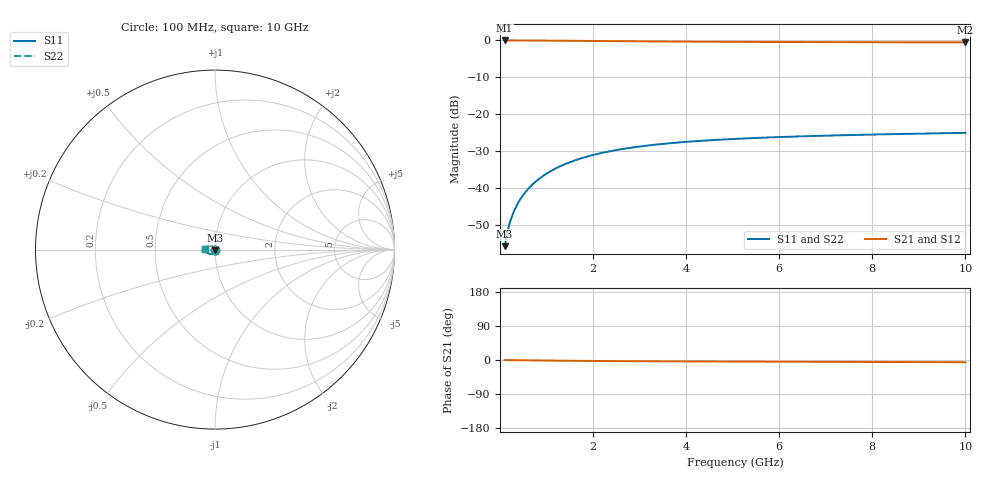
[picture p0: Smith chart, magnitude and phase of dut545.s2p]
! Touchstone file exported from HFSS 2024.1.0
!  File:  C:/UserFiles/LocalFiles/RDL_TSV_Batchsim/temp_TSV1_545_1779705791.aedt
!  Generated:  06:49:27 PM May 25, 2026
!  Design:  TSV1
!  Project:  temp_TSV1_545_1779705791
!  Setup:  Setup1
!  Solution:  Sweep
! Variables:
!  dtsv = 11.88um
!  hbump = 3um
!  htsv = 91.96um
!  lrdl = 252.1521522um
!  p = 40
!  p1 = 56.54um
!  t = 500um
!  trdl = 3um
!  wrdl = 24.89489489um
# GHz S MA R 50.000000
! Terminal data exported
! Port[1] = TSV22_T1
! Port[2] = TSV22_T2
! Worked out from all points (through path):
!   100 points, 100 MHz to 10 GHz, reference 50 ohm
!   highest |S21| = 0.00 dB at 100 MHz (marker M1); lowest = -0.5 dB at 10 GHz (marker M2)
!   lowest |S11| = -55.8 dB at 100 MHz (marker M3), VSWR 1.00, Z = 50 - j0.162 ohm
!   |S11| at or under -10 dB: start of sweep to end of sweep
!   |S22| runs from -55.8 to -25.1 dB; largest |S21 - S12| = 6.3e-15
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0.1  0.001618 -88.0  0.9998 -0.2  0.9998 -0.2  0.001618 -88.0
! Gamma 0 0 0 0
! Port Impedance 50 0 50 0
0.2  0.003231 -91.8  0.9997 -0.3  0.9997 -0.3  0.003231 -91.8
0.3  0.00484 -94.3  0.9994 -0.5  0.9994 -0.5  0.00484 -94.3
0.4  0.006441 -96.5  0.999 -0.6  0.999 -0.6  0.006441 -96.5
0.5  0.008028 -98.6  0.9985 -0.8  0.9985 -0.8  0.008028 -98.6
0.6  0.009595 -100.6  0.9979 -0.9  0.9979 -0.9  0.009595 -100.6
0.7  0.01114 -102.6  0.9972 -1.0  0.9972 -1.0  0.01114 -102.6
0.8  0.01265 -104.6  0.9965 -1.2  0.9965 -1.2  0.01265 -104.6
0.9  0.01414 -106.5  0.9957 -1.3  0.9957 -1.3  0.01414 -106.5
1.1  0.017 -110.2  0.9938 -1.6  0.9938 -1.6  0.017 -110.2
1.4  0.02101 -115.4  0.9907 -1.9  0.9907 -1.9  0.02101 -115.4
1.6  0.02347 -118.8  0.9885 -2.1  0.9885 -2.1  0.02347 -118.8
1.8  0.02577 -121.9  0.9862 -2.3  0.9862 -2.3  0.02577 -121.9
2.1  0.02892 -126.4  0.9828 -2.6  0.9828 -2.6  0.02892 -126.4
2.5  0.03257 -131.9  0.9783 -2.9  0.9783 -2.9  0.03257 -131.9
2.9  0.03568 -136.8  0.974 -3.2  0.974 -3.2  0.03568 -136.8
3.4  0.03892 -142.3  0.9692 -3.4  0.9692 -3.4  0.03892 -142.3
4.2  0.04296 -149.9  0.9628 -3.8  0.9628 -3.8  0.04296 -149.9
5.1  0.04632 -157.0  0.9572 -4.1  0.9572 -4.1  0.04632 -157.0
6.7  0.05046 -167.1  0.9502 -4.7  0.9502 -4.7  0.05047 -167.1
8.4  0.05351 -175.6  0.9455 -5.3  0.9455 -5.3  0.05351 -175.6
10  0.05575 177.6  0.9424 -5.9  0.9424 -5.9  0.05575 177.6
